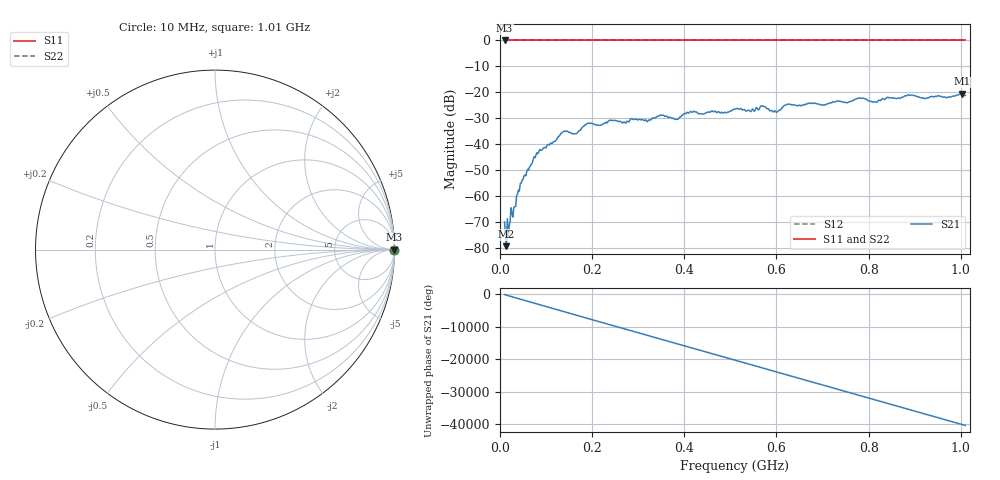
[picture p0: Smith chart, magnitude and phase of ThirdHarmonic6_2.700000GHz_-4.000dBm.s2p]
! 8/17/2025 6:27:28 AM
! C:\ANRITSUVNA\TEMP\TEMP.S2P
! CHANNEL.1
! TR.MEASUREMENT
! RAW.DATA
! RF.CORRECTION.OFF
! AVERAGING.OFF
! IF.BANDWIDTH: 5KHZ
! SWEEPTYPE:  FREQ.SWEEP(Linear)
! Reference Plane Port Info
! PORT:  PORT1  PORT2
! DISTANCE:  0  m  0  m
! TIME:  0  s  0  s
! PHASE.OFFSET:  0  deg.  0  deg.
! LOSS:  0  dB  0  dB
! REF.LOSS:  0  dB  0  dB
! REF.FREQ:  0  Hz  0  Hz
! Power Info
! POWER:  -20  dBm  -20  dBm
! EFF.POWER:  -20  dBm  -20  dBm
! SOURCE.ATTEN:  0  dB  0  dB
! TEST.ATTEN:  0  dB  0  dB
# GHZ S RI R 50.0
! FREQ.GHZ  S11RE  S11IM  S21RE  S21IM  S12RE  S12IM  S22RE  S22IM
!; PortSelection: Port_12
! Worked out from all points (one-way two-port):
!   501 points, 10 MHz to 1.01 GHz, reference 50 ohm
!   highest |S21| = -20.55 dB at 1.002 GHz (marker M1); lowest = -79.4 dB at 14 MHz (marker M2)
!   lowest |S11| = 0.0 dB at 10 MHz (marker M3)
!   |S11| at or under -10 dB: nowhere
!   |S22| runs from 0.0 to 0.0 dB; largest |S21 - S12| = 1.1
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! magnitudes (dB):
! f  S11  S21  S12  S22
! 10 MHz  0.0  -70.1  0.0  0.0
! 14 MHz  0.0  -79.4  0.0  0.0
! 18 MHz  0.0  -76.2  0.0  0.0
! 20 MHz  0.0  -71.5  0.0  0.0
! 48 MHz  0.0  -53.9  0.0  0.0
! 76 MHz  0.0  -45.2  0.0  0.0
! 136 MHz  0.0  -35.5  0.0  0.0
! 164 MHz  0.0  -36.0  0.0  0.0
! 178 MHz  0.0  -33.6  0.0  0.0
! 194 MHz  0.0  -31.9  0.0  0.0
! 322 MHz  0.0  -30.9  0.0  0.0
! 344 MHz  0.0  -29.3  0.0  0.0
! 382 MHz  0.0  -30.5  0.0  0.0
! 416 MHz  0.0  -27.7  0.0  0.0
! 510 MHz  0.0  -26.5  0.0  0.0
! 570 MHz  0.0  -25.3  0.0  0.0
! 598 MHz  0.0  -27.5  0.0  0.0
! 624 MHz  0.0  -24.6  0.0  0.0
! 678 MHz  0.0  -24.3  0.0  0.0
! 844 MHz  0.0  -22.1  0.0  0.0
! 1.002 GHz  0.0  -20.5  0.0  0.0
! 1.01 GHz  0.0  -21.2  0.0  0.0
